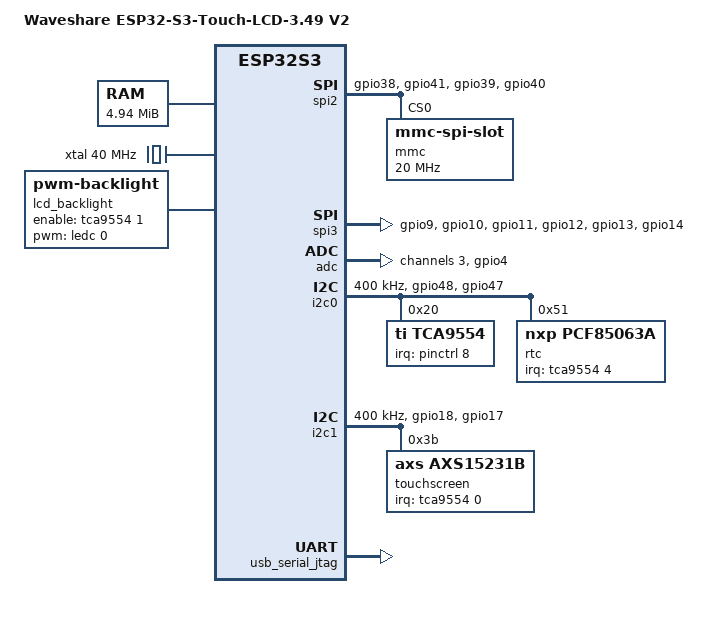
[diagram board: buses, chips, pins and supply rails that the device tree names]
// SPDX-License-Identifier: GPL-2.0-only
/dts-v1/;

#include <dt-bindings/interrupt-controller/irq.h>
#include <dt-bindings/clock/esp32s3.h>
#include <dt-bindings/dma/esp32s3-gdma.h>
#include <dt-bindings/gpio/gpio.h>
#include <dt-bindings/pwm/pwm.h>
#include <dt-bindings/reset/esp32s3.h>

/ {
	model = "Waveshare ESP32-S3-Touch-LCD-3.49 V2";
	compatible = "waveshare,esp32-s3-touch-lcd-3.49-v2",
		     "esp,esp32s3";
	#address-cells = <1>;
	#size-cells = <1>;
	interrupt-parent = <&pic>;

	aliases {
		i2c0 = &i2c0;
		i2c1 = &i2c1;
		serial0 = &usb_serial_jtag;
		spi0 = &spi3;
		spi1 = &spi2;
	};

	chosen {
		bootargs = "earlycon";
		stdout-path = "serial0";
	};

	memory@3c300000 {
		device_type = "memory";
		reg = <0x3c300000 0x004f0000>;
	};

	reserved-memory {
		#address-cells = <1>;
		#size-cells = <1>;
		ranges;

		gdma_pool: dma-pool@3fc88000 {
			compatible = "shared-dma-pool";
			reg = <0x3fc88000 0x8000>;
			no-map;
		};
	};

	cpus {
		#address-cells = <1>;
		#size-cells = <0>;

		cpu@0 {
			compatible = "cdns,xtensa-cpu";
			device_type = "cpu";
			reg = <0>;
			clocks = <&cpu_clk>;
		};
	};

	clocks {
		cpu_clk: cpu-clock {
			compatible = "fixed-clock";
			#clock-cells = <0>;
			clock-frequency = <240000000>;
		};

		xtal: xtal-clock {
			compatible = "fixed-clock";
			#clock-cells = <0>;
			clock-frequency = <40000000>;
		};
	};

	syscon: clock-controller@600c0000 {
		compatible = "esp,esp32s3-system-controller";
		reg = <0x600c0000 0x1000>;
		clocks = <&xtal>;
		#clock-cells = <1>;
		#reset-cells = <1>;
	};

	spi2: spi@60024000 {
		compatible = "esp,esp32s3-spi";
		reg = <0x60024000 0x1000>;
		clocks = <&syscon ESP32S3_CLK_SPI2>;
		resets = <&syscon ESP32S3_RST_SPI2>;
		interrupt-parent = <&intc>;
		interrupts = <21 IRQ_TYPE_LEVEL_HIGH>;
		dmas = <&gdma ESP32S3_GDMA_TRIG_SPI2 ESP32S3_GDMA_DIR_RX>,
		       <&gdma ESP32S3_GDMA_TRIG_SPI2 ESP32S3_GDMA_DIR_TX>;
		dma-names = "rx", "tx";
		pinctrl-names = "default";
		pinctrl-0 = <&spi2_cs0_pin &spi2_clk_pin &spi2_d_pin
			     &spi2_q_pin>;
		#address-cells = <1>;
		#size-cells = <0>;

		mmc@0 {
			compatible = "mmc-spi-slot";
			reg = <0>;
			spi-max-frequency = <20000000>;
			voltage-ranges = <3300 3300>;
			broken-cd;
			disable-wp;
		};
	};

	spi3: spi@60025000 {
		compatible = "esp,esp32s3-spi";
		reg = <0x60025000 0x1000>;
		clocks = <&syscon ESP32S3_CLK_SPI3>;
		resets = <&syscon ESP32S3_RST_SPI3>;
		interrupt-parent = <&intc>;
		interrupts = <22 IRQ_TYPE_LEVEL_HIGH>;
		dmas = <&gdma ESP32S3_GDMA_TRIG_SPI3 ESP32S3_GDMA_DIR_RX>,
		       <&gdma ESP32S3_GDMA_TRIG_SPI3 ESP32S3_GDMA_DIR_TX>;
		dma-names = "rx", "tx";
		pinctrl-names = "default";
		pinctrl-0 = <&spi3_cs0_pin &spi3_clk_pin &spi3_d_pin
			     &spi3_q_pin &spi3_wp_pin &spi3_hd_pin>;
		#address-cells = <1>;
		#size-cells = <0>;
	};

	gdma: dma-controller@6003f000 {
		compatible = "esp,esp32s3-gdma";
		reg = <0x6003f000 0x1000>;
		clocks = <&syscon ESP32S3_CLK_GDMA>;
		resets = <&syscon ESP32S3_RST_GDMA>;
		interrupt-parent = <&intc>;
		interrupts = <65 IRQ_TYPE_LEVEL_HIGH>,
			     <66 IRQ_TYPE_LEVEL_HIGH>,
			     <67 IRQ_TYPE_LEVEL_HIGH>,
			     <68 IRQ_TYPE_LEVEL_HIGH>,
			     <69 IRQ_TYPE_LEVEL_HIGH>,
			     <70 IRQ_TYPE_LEVEL_HIGH>,
			     <71 IRQ_TYPE_LEVEL_HIGH>,
			     <72 IRQ_TYPE_LEVEL_HIGH>,
			     <73 IRQ_TYPE_LEVEL_HIGH>,
			     <74 IRQ_TYPE_LEVEL_HIGH>;
		interrupt-names = "rx0", "rx1", "rx2", "rx3", "rx4",
				  "tx0", "tx1", "tx2", "tx3", "tx4";
		memory-region = <&gdma_pool>;
		dma-channels = <10>;
		dma-requests = <10>;
		#dma-cells = <2>;
	};

	adc: adc@60008800 {
		compatible = "esp,esp32s3-adc";
		reg = <0x60008800 0x200>, <0x6000e000 0x100>;
		reg-names = "sens", "analog";
		pinctrl-names = "default";
		pinctrl-0 = <&adc1_channel3_pin>;
		#address-cells = <1>;
		#size-cells = <0>;
		#io-channel-cells = <1>;

		channel@3 {
			reg = <3>;
			esp,attenuation = <2>;
			label = "battery-divider";
		};
	};

	ledc: pwm@60019000 {
		compatible = "esp,esp32s3-ledc";
		reg = <0x60019000 0x1000>;
		clocks = <&syscon ESP32S3_CLK_LEDC>;
		resets = <&syscon ESP32S3_RST_LEDC>;
		pinctrl-names = "default";
		pinctrl-0 = <&ledc_ls0_pin>;
		#pwm-cells = <3>;
	};

	lcd_backlight: backlight {
		compatible = "pwm-backlight";
		pwms = <&ledc 0 50000 PWM_POLARITY_INVERTED>;
		enable-gpios = <&tca9554 1 GPIO_ACTIVE_HIGH>;
		brightness-levels = <0 255>;
		num-interpolated-steps = <255>;
		default-brightness-level = <0>;
	};

	i2c0: i2c@60013000 {
		compatible = "esp,esp32s3-i2c";
		reg = <0x60013000 0x1000>;
		clocks = <&syscon ESP32S3_CLK_I2C0>;
		resets = <&syscon ESP32S3_RST_I2C0>;
		interrupt-parent = <&intc>;
		interrupts = <42 IRQ_TYPE_LEVEL_HIGH>;
		clock-frequency = <400000>;
		pinctrl-names = "default";
		pinctrl-0 = <&i2c0_scl_pins &i2c0_sda_pins>;
		#address-cells = <1>;
		#size-cells = <0>;

		tca9554: gpio@20 {
			compatible = "ti,tca9554";
			reg = <0x20>;
			interrupt-parent = <&pinctrl>;
			interrupts = <8 IRQ_TYPE_LEVEL_LOW>;
			gpio-controller;
			#gpio-cells = <2>;
			interrupt-controller;
			#interrupt-cells = <2>;
			gpio-line-names = "tp-int", "backlight-enable",
					  "imu-int1", "imu-int2", "rtc-int",
					  "lcd-reset", "system-enable", "exio7";
		};

		rtc@51 {
			compatible = "nxp,pcf85063a";
			reg = <0x51>;
			interrupt-parent = <&tca9554>;
			interrupts = <4 IRQ_TYPE_LEVEL_LOW>;
			quartz-load-femtofarads = <12500>;
		};
	};

	i2c1: i2c@60027000 {
		compatible = "esp,esp32s3-i2c";
		reg = <0x60027000 0x1000>;
		clocks = <&syscon ESP32S3_CLK_I2C1>;
		resets = <&syscon ESP32S3_RST_I2C1>;
		interrupt-parent = <&intc>;
		interrupts = <43 IRQ_TYPE_LEVEL_HIGH>;
		clock-frequency = <400000>;
		pinctrl-names = "default";
		pinctrl-0 = <&i2c1_scl_pins &i2c1_sda_pins>;
		#address-cells = <1>;
		#size-cells = <0>;

		touchscreen@3b {
			compatible = "axs,axs15231b";
			reg = <0x3b>;
			interrupt-parent = <&tca9554>;
			interrupts = <0 IRQ_TYPE_EDGE_FALLING>;
			touchscreen-size-x = <640>;
			touchscreen-size-y = <172>;
		};
	};

	intc: interrupt-controller@600c2000 {
		compatible = "esp,esp32s3-intc";
		reg = <0x600c2000 0x1000>;
		interrupt-parent = <&pic>;
		interrupts = <2 0>;
		interrupt-controller;
		#interrupt-cells = <2>;
	};

	usb_serial_jtag: serial@60038000 {
		compatible = "esp,esp32s3-usb-serial-jtag";
		reg = <0x60038000 0x1000>;
		interrupt-parent = <&intc>;
		interrupts = <96 IRQ_TYPE_LEVEL_HIGH>;
	};

	pinctrl: pinctrl@60004000 {
		compatible = "esp,esp32s3-pinctrl";
		reg = <0x60004000 0x700>, <0x60009000 0x100>,
		      <0x60008400 0x100>;
		reg-names = "gpio", "iomux", "rtcio";
		interrupt-parent = <&intc>;
		interrupts = <16 IRQ_TYPE_LEVEL_HIGH>;
		gpio-controller;
		#gpio-cells = <2>;
		gpio-ranges = <&pinctrl 0 0 49>;
		gpio-reserved-ranges = <19 2>, <22 16>;
		interrupt-controller;
		#interrupt-cells = <2>;

		adc1_channel3_pin: adc1-channel3-pin {
			pins = "gpio4";
			function = "analog";
			bias-disable;
			input-disable;
		};

		i2c0_scl_pins: i2c0-scl-pins {
			pins = "gpio48";
			function = "i2c0-scl";
			bias-pull-up;
			drive-open-drain;
			input-enable;
		};

		i2c0_sda_pins: i2c0-sda-pins {
			pins = "gpio47";
			function = "i2c0-sda";
			bias-pull-up;
			drive-open-drain;
			input-enable;
		};

		i2c1_scl_pins: i2c1-scl-pins {
			pins = "gpio18";
			function = "i2c1-scl";
			bias-pull-up;
			drive-open-drain;
			input-enable;
		};

		i2c1_sda_pins: i2c1-sda-pins {
			pins = "gpio17";
			function = "i2c1-sda";
			bias-pull-up;
			drive-open-drain;
			input-enable;
		};

		spi2_cs0_pin: spi2-cs0-pin {
			pins = "gpio38";
			function = "spi2-cs0";
			drive-push-pull;
		};

		spi2_clk_pin: spi2-clk-pin {
			pins = "gpio41";
			function = "spi2-clk";
			drive-push-pull;
		};

		spi2_d_pin: spi2-d-pin {
			pins = "gpio39";
			function = "spi2-d";
			drive-push-pull;
			input-enable;
		};

		spi2_q_pin: spi2-q-pin {
			pins = "gpio40";
			function = "spi2-q";
			drive-push-pull;
			input-enable;
		};

		spi3_cs0_pin: spi3-cs0-pin {
			pins = "gpio9";
			function = "spi3-cs0";
			drive-push-pull;
		};

		spi3_clk_pin: spi3-clk-pin {
			pins = "gpio10";
			function = "spi3-clk";
			drive-push-pull;
		};

		spi3_d_pin: spi3-d-pin {
			pins = "gpio11";
			function = "spi3-d";
			drive-push-pull;
			input-enable;
		};

		spi3_q_pin: spi3-q-pin {
			pins = "gpio12";
			function = "spi3-q";
			drive-push-pull;
			input-enable;
		};

		spi3_wp_pin: spi3-wp-pin {
			pins = "gpio13";
			function = "spi3-wp";
			drive-push-pull;
			input-enable;
		};

		spi3_hd_pin: spi3-hd-pin {
			pins = "gpio14";
			function = "spi3-hd";
			drive-push-pull;
			input-enable;
		};

		ledc_ls0_pin: ledc-ls0-pin {
			pins = "gpio42";
			function = "ledc-ls0";
			drive-push-pull;
		};
	};

	pic: interrupt-controller {
		compatible = "cdns,xtensa-pic";
		#address-cells = <0>;
		#interrupt-cells = <2>;
		interrupt-controller;
	};
};
